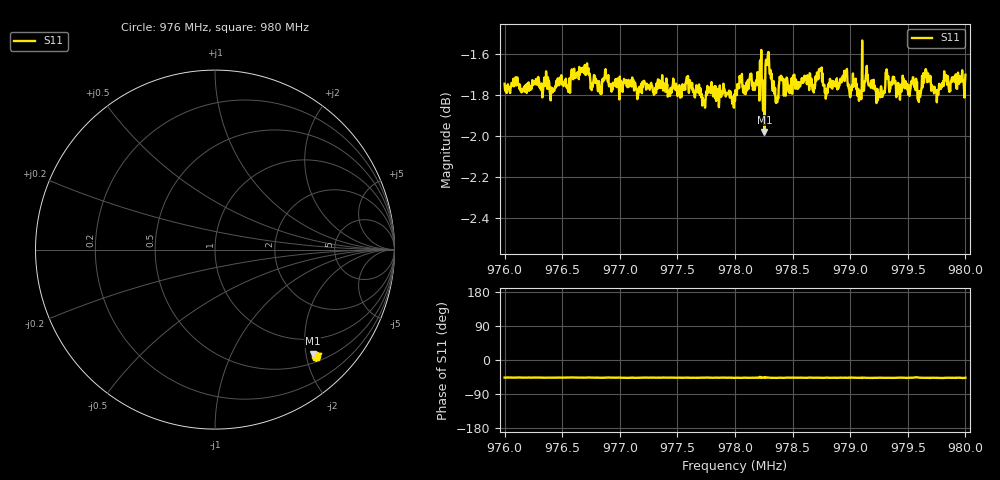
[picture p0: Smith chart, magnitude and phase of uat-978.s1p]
! Calibrated averaged scanner-service zoom
# Hz S RI R 50
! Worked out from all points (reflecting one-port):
!   1001 points, 976 MHz to 980 MHz, reference 50 ohm
!   lowest |S11| = -2.0 dB at 978.256 MHz (marker M1), VSWR 8.81, Z = 33.7 - j107 ohm
!   phase of S11 starts at -46 deg and turns -0 deg over the sweep
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9.76e8  0.5638 -0.5927
9.765e8  0.5654 -0.5904
9.76592e8  0.5709 -0.5928
9.76828e8  0.5584 -0.5926
9.7688e8  0.5648 -0.5957
9.77e8  0.5652 -0.5959
9.775e8  0.5568 -0.5915
9.7768e8  0.5575 -0.5931
9.77736e8  0.5553 -0.5897
9.78e8  0.5516 -0.5936
9.78184e8  0.5641 -0.5946
9.78212e8  0.5599 -0.5858
9.78256e8  0.5457 -0.5798
9.78288e8  0.574 -0.6031
9.78356e8  0.551 -0.5927
9.785e8  0.562 -0.5941
9.78744e8  0.5654 -0.6
9.78792e8  0.5588 -0.5909
9.78956e8  0.5646 -0.5984
9.79e8  0.5592 -0.5885
9.79156e8  0.5567 -0.5996
9.79248e8  0.5549 -0.5951
9.7944e8  0.5616 -0.594
9.795e8  0.5542 -0.5982
9.79564e8  0.5693 -0.5895
9.79656e8  0.5613 -0.6042
9.79732e8  0.5572 -0.5969
9.8e8  0.5634 -0.5987
